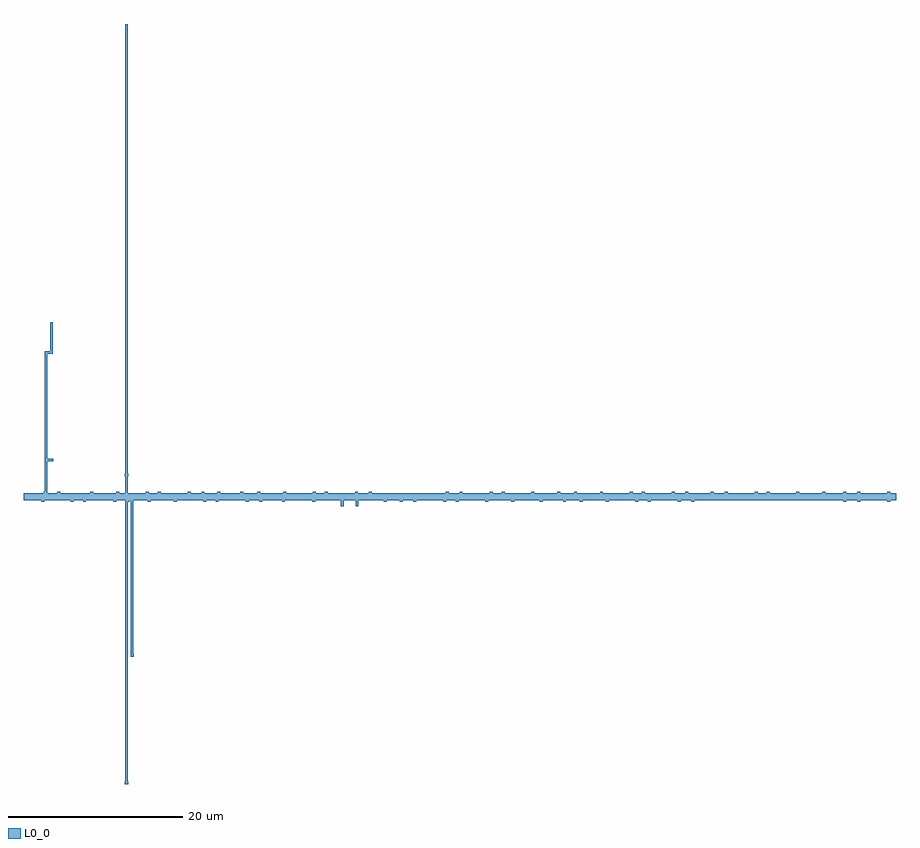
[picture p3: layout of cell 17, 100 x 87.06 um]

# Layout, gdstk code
import gdstk
lib = gdstk.Library(unit=1e-6, precision=1e-09)
def P(c, l, *ps):  # polygons
    for p in ps: c.add(gdstk.Polygon(p, *l))
L0_0 = (0, 0)

c_17 = lib.new_cell('17')
P(c_17, L0_0, [(925.98,946.24),(926.76,946.24),(926.76,946.415),(927.1,946.415),(927.1,946.24),(929.74,946.24),(929.74,946.415),(930.08,946.415),(930.08,946.24),(933.135,946.24),(933.135,946.415),(933.475,946.415),(933.475,946.24),(934.535,946.24),(934.535,946.415),(934.875,946.415),(934.875,946.24),(937.975,946.24),(937.975,946.415),(938.315,946.415),(938.315,946.24),(939.53,946.24),(939.53,946.415),(939.87,946.415),(939.87,946.24),(941.16,946.24),(941.16,945.44),(925.98,945.44),(925.98,946.24)],
  [(1000,945.44),(999.265,945.44),(999.265,945.265),(998.925,945.265),(998.925,945.44),(995.825,945.44),(995.825,945.265),(995.485,945.265),(995.485,945.44),(994.27,945.44),(994.27,945.265),(993.93,945.265),(993.93,945.44),(992.64,945.44),(992.64,946.24),(1000,946.24),(1000,945.44)],
  [(900,946.24),(1000,946.24),(1000,945.44),(900,945.44),(900,946.24)],
  [(906.84,946.24),(906.84,945.44),(905.52,945.44),(905.52,946.24),(906.84,946.24)],
  [(947.1,945.44),(947.1,946.24),(948.39,946.24),(948.39,946.415),(948.73,946.415),(948.73,946.24),(949.945,946.24),(949.945,946.415),(950.285,946.415),(950.285,946.24),(953.385,946.24),(953.385,946.415),(953.725,946.415),(953.725,946.24),(954.785,946.24),(954.785,946.415),(955.125,946.415),(955.125,946.24),(958.18,946.24),(958.18,946.415),(958.52,946.415),(958.52,946.24),(961.16,946.24),(961.16,946.415),(961.5,946.415),(961.5,946.24),(962.28,946.24),(962.28,945.44),(947.1,945.44)],
  [(958.32,946.24),(958.98,946.24),(958.98,945.44),(958.32,945.44),(958.32,946.24)],
  [(900,946.24),(902.335,946.24),(902.335,946.415),(902.675,946.415),(902.675,946.24),(903.89,946.24),(903.89,946.415),(904.23,946.415),(904.23,946.24),(905.52,946.24),(905.52,945.44),(900,945.44),(900,946.24)],
  [(946.44,946.24),(946.44,945.44),(941.16,945.44),(941.16,946.24),(946.44,946.24)],
  [(1000,945.44),(992.64,945.44),(992.64,946.24),(993.93,946.24),(993.93,946.415),(994.27,946.415),(994.27,946.24),(995.485,946.24),(995.485,946.415),(995.825,946.415),(995.825,946.24),(998.925,946.24),(998.925,946.415),(999.265,946.415),(999.265,946.24),(1000,946.24),(1000,945.44)],
  [(941.82,945.44),(941.62,945.44),(941.62,945.265),(941.28,945.265),(941.28,945.44),(938.37,945.44),(938.37,944.76),(938.03,944.76),(938.03,945.44),(936.68,945.44),(936.68,944.76),(936.34,944.76),(936.34,945.44),(933.43,945.44),(933.43,945.265),(933.09,945.265),(933.09,945.44),(929.95,945.44),(929.95,945.265),(929.61,945.265),(929.61,945.44),(928.62,945.44),(928.62,946.24),(941.82,946.24),(941.82,945.44)],
  [(957,945.44),(956.22,945.44),(956.22,945.265),(955.88,945.265),(955.88,945.44),(953.24,945.44),(953.24,945.265),(952.9,945.265),(952.9,945.44),(949.845,945.44),(949.845,945.265),(949.505,945.265),(949.505,945.44),(948.445,945.44),(948.445,945.265),(948.105,945.265),(948.105,945.44),(945.005,945.44),(945.005,945.265),(944.665,945.265),(944.665,945.44),(943.45,945.44),(943.45,945.265),(943.11,945.265),(943.11,945.44),(941.82,945.44),(941.82,946.24),(957,946.24),(957,945.44)],
  [(991.32,946.24),(992.64,946.24),(992.64,945.44),(991.32,945.44),(991.32,946.24)],
  [(978.12,946.24),(978.12,945.44),(976.83,945.44),(976.83,945.265),(976.49,945.265),(976.49,945.44),(975.275,945.44),(975.275,945.265),(974.935,945.265),(974.935,945.44),(971.835,945.44),(971.835,945.265),(971.495,945.265),(971.495,945.44),(970.435,945.44),(970.435,945.265),(970.095,945.265),(970.095,945.44),(967.04,945.44),(967.04,945.265),(966.7,945.265),(966.7,945.44),(964.06,945.44),(964.06,945.265),(963.72,945.265),(963.72,945.44),(962.94,945.44),(962.94,946.24),(978.12,946.24)],
  [(957,946.24),(958.32,946.24),(958.32,945.44),(957,945.44),(957,946.24)],
  [(900,946.24),(913.44,946.24),(913.44,945.44),(912.15,945.44),(912.15,945.265),(911.81,945.265),(911.81,945.44),(910.595,945.44),(910.595,945.265),(910.255,945.265),(910.255,945.44),(907.155,945.44),(907.155,945.265),(906.815,945.265),(906.815,945.44),(905.755,945.44),(905.755,945.265),(905.415,945.265),(905.415,945.44),(902.36,945.44),(902.36,945.265),(902.02,945.265),(902.02,945.44),(900,945.44),(900,946.24)],
  [(977.46,945.44),(977.46,946.24),(978.75,946.24),(978.75,946.415),(979.09,946.415),(979.09,946.24),(980.305,946.24),(980.305,946.415),(980.645,946.415),(980.645,946.24),(983.745,946.24),(983.745,946.415),(984.085,946.415),(984.085,946.24),(985.145,946.24),(985.145,946.415),(985.485,946.415),(985.485,946.24),(988.54,946.24),(988.54,946.415),(988.88,946.415),(988.88,946.24),(991.52,946.24),(991.52,946.415),(991.86,946.415),(991.86,946.24),(992.64,946.24),(992.64,945.44),(977.46,945.44)],
  [(962.28,946.24),(963.06,946.24),(963.06,946.415),(963.4,946.415),(963.4,946.24),(966.04,946.24),(966.04,946.415),(966.38,946.415),(966.38,946.24),(969.435,946.24),(969.435,946.415),(969.775,946.415),(969.775,946.24),(970.835,946.24),(970.835,946.415),(971.175,946.415),(971.175,946.24),(974.275,946.24),(974.275,946.415),(974.615,946.415),(974.615,946.24),(975.83,946.24),(975.83,946.415),(976.17,946.415),(976.17,946.24),(977.46,946.24),(977.46,945.44),(962.28,945.44),(962.28,946.24)],
  [(962.94,946.24),(962.94,945.44),(962.14,945.44),(962.14,945.265),(961.8,945.265),(961.8,945.44),(959.5,945.44),(959.5,945.265),(959.16,945.265),(959.16,945.44),(958.98,945.44),(958.98,946.24),(962.94,946.24)],
  [(928.62,946.24),(928.62,945.44),(927.33,945.44),(927.33,945.265),(926.99,945.265),(926.99,945.44),(925.775,945.44),(925.775,945.265),(925.435,945.265),(925.435,945.44),(922.335,945.44),(922.335,945.265),(921.995,945.265),(921.995,945.44),(920.935,945.44),(920.935,945.265),(920.595,945.265),(920.595,945.44),(917.54,945.44),(917.54,945.265),(917.2,945.265),(917.2,945.44),(914.56,945.44),(914.56,945.265),(914.22,945.265),(914.22,945.44),(913.44,945.44),(913.44,946.24),(928.62,946.24)],
  [(978.12,946.24),(988.68,946.24),(988.68,945.44),(978.12,945.44),(978.12,946.24)],
  [(988.68,946.24),(991.32,946.24),(991.32,945.44),(988.68,945.44),(988.68,946.24)],
  [(922.02,946.24),(922.2,946.24),(922.2,946.415),(922.54,946.415),(922.54,946.24),(924.84,946.24),(924.84,946.415),(925.18,946.415),(925.18,946.24),(925.98,946.24),(925.98,945.44),(922.02,945.44),(922.02,946.24)],
  [(906.84,946.24),(907.62,946.24),(907.62,946.415),(907.96,946.415),(907.96,946.24),(910.6,946.24),(910.6,946.415),(910.94,946.415),(910.94,946.24),(913.995,946.24),(913.995,946.415),(914.335,946.415),(914.335,946.24),(915.395,946.24),(915.395,946.415),(915.735,946.415),(915.735,946.24),(918.835,946.24),(918.835,946.415),(919.175,946.415),(919.175,946.24),(920.39,946.24),(920.39,946.415),(920.73,946.415),(920.73,946.24),(922.02,946.24),(922.02,945.44),(906.84,945.44),(906.84,946.24)],
  [(947.1,946.24),(947.1,945.44),(946.44,945.44),(946.44,946.24),(947.1,946.24)],
  [(900,946.24),(902.335,946.24),(902.335,946.415),(902.675,946.415),(902.675,946.24),(903.89,946.24),(903.89,946.415),(904.23,946.415),(904.23,946.24),(905.52,946.24),(905.52,945.44),(900,945.44),(900,946.24)],
  [(946.44,946.24),(946.44,945.44),(941.16,945.44),(941.16,946.24),(946.44,946.24)],
  [(925.98,946.24),(926.76,946.24),(926.76,946.415),(927.1,946.415),(927.1,946.24),(929.74,946.24),(929.74,946.415),(930.08,946.415),(930.08,946.24),(933.135,946.24),(933.135,946.415),(933.475,946.415),(933.475,946.24),(934.535,946.24),(934.535,946.415),(934.875,946.415),(934.875,946.24),(937.975,946.24),(937.975,946.415),(938.315,946.415),(938.315,946.24),(939.53,946.24),(939.53,946.415),(939.87,946.415),(939.87,946.24),(941.16,946.24),(941.16,945.44),(925.98,945.44),(925.98,946.24)],
  [(922.02,946.24),(922.2,946.24),(922.2,946.415),(922.54,946.415),(922.54,946.24),(924.84,946.24),(924.84,946.415),(925.18,946.415),(925.18,946.24),(925.98,946.24),(925.98,945.44),(922.02,945.44),(922.02,946.24)],
  [(928.62,946.24),(928.62,945.44),(927.33,945.44),(927.33,945.265),(926.99,945.265),(926.99,945.44),(925.775,945.44),(925.775,945.265),(925.435,945.265),(925.435,945.44),(922.335,945.44),(922.335,945.265),(921.995,945.265),(921.995,945.44),(920.935,945.44),(920.935,945.265),(920.595,945.265),(920.595,945.44),(917.54,945.44),(917.54,945.265),(917.2,945.265),(917.2,945.44),(914.56,945.44),(914.56,945.265),(914.22,945.265),(914.22,945.44),(913.44,945.44),(913.44,946.24),(928.62,946.24)],
  [(906.84,946.24),(906.84,945.44),(905.52,945.44),(905.52,946.24),(906.84,946.24)],
  [(941.82,945.44),(941.62,945.44),(941.62,945.265),(941.28,945.265),(941.28,945.44),(938.37,945.44),(938.37,944.76),(938.03,944.76),(938.03,945.44),(936.68,945.44),(936.68,944.76),(936.34,944.76),(936.34,945.44),(933.43,945.44),(933.43,945.265),(933.09,945.265),(933.09,945.44),(929.95,945.44),(929.95,945.265),(929.61,945.265),(929.61,945.44),(928.62,945.44),(928.62,946.24),(941.82,946.24),(941.82,945.44)],
  [(957,945.44),(956.22,945.44),(956.22,945.265),(955.88,945.265),(955.88,945.44),(953.24,945.44),(953.24,945.265),(952.9,945.265),(952.9,945.44),(949.845,945.44),(949.845,945.265),(949.505,945.265),(949.505,945.44),(948.445,945.44),(948.445,945.265),(948.105,945.265),(948.105,945.44),(945.005,945.44),(945.005,945.265),(944.665,945.265),(944.665,945.44),(943.45,945.44),(943.45,945.265),(943.11,945.265),(943.11,945.44),(941.82,945.44),(941.82,946.24),(957,946.24),(957,945.44)],
  [(906.84,946.24),(907.62,946.24),(907.62,946.415),(907.96,946.415),(907.96,946.24),(910.6,946.24),(910.6,946.415),(910.94,946.415),(910.94,946.24),(913.995,946.24),(913.995,946.415),(914.335,946.415),(914.335,946.24),(915.395,946.24),(915.395,946.415),(915.735,946.415),(915.735,946.24),(918.835,946.24),(918.835,946.415),(919.175,946.415),(919.175,946.24),(920.39,946.24),(920.39,946.415),(920.73,946.415),(920.73,946.24),(922.02,946.24),(922.02,945.44),(906.84,945.44),(906.84,946.24)],
  [(900,946.24),(913.44,946.24),(913.44,945.44),(912.15,945.44),(912.15,945.265),(911.81,945.265),(911.81,945.44),(910.595,945.44),(910.595,945.265),(910.255,945.265),(910.255,945.44),(907.155,945.44),(907.155,945.265),(906.815,945.265),(906.815,945.44),(905.755,945.44),(905.755,945.265),(905.415,945.265),(905.415,945.44),(902.36,945.44),(902.36,945.265),(902.02,945.265),(902.02,945.44),(900,945.44),(900,946.24)],
  [(962.28,946.24),(963.06,946.24),(963.06,946.415),(963.4,946.415),(963.4,946.24),(966.04,946.24),(966.04,946.415),(966.38,946.415),(966.38,946.24),(969.435,946.24),(969.435,946.415),(969.775,946.415),(969.775,946.24),(970.835,946.24),(970.835,946.415),(971.175,946.415),(971.175,946.24),(974.275,946.24),(974.275,946.415),(974.615,946.415),(974.615,946.24),(975.83,946.24),(975.83,946.415),(976.17,946.415),(976.17,946.24),(977.46,946.24),(977.46,945.44),(962.28,945.44),(962.28,946.24)],
  [(946.44,946.24),(946.44,945.44),(941.16,945.44),(941.16,946.24),(946.44,946.24)],
  [(925.98,946.24),(926.76,946.24),(926.76,946.415),(927.1,946.415),(927.1,946.24),(929.74,946.24),(929.74,946.415),(930.08,946.415),(930.08,946.24),(933.135,946.24),(933.135,946.415),(933.475,946.415),(933.475,946.24),(934.535,946.24),(934.535,946.415),(934.875,946.415),(934.875,946.24),(937.975,946.24),(937.975,946.415),(938.315,946.415),(938.315,946.24),(939.53,946.24),(939.53,946.415),(939.87,946.415),(939.87,946.24),(941.16,946.24),(941.16,945.44),(925.98,945.44),(925.98,946.24)],
  [(958.32,946.24),(958.98,946.24),(958.98,945.44),(958.32,945.44),(958.32,946.24)],
  [(900,946.24),(913.44,946.24),(913.44,945.44),(912.15,945.44),(912.15,945.265),(911.81,945.265),(911.81,945.44),(910.595,945.44),(910.595,945.265),(910.255,945.265),(910.255,945.44),(907.155,945.44),(907.155,945.265),(906.815,945.265),(906.815,945.44),(905.755,945.44),(905.755,945.265),(905.415,945.265),(905.415,945.44),(902.36,945.44),(902.36,945.265),(902.02,945.265),(902.02,945.44),(900,945.44),(900,946.24)],
  [(928.62,946.24),(928.62,945.44),(927.33,945.44),(927.33,945.265),(926.99,945.265),(926.99,945.44),(925.775,945.44),(925.775,945.265),(925.435,945.265),(925.435,945.44),(922.335,945.44),(922.335,945.265),(921.995,945.265),(921.995,945.44),(920.935,945.44),(920.935,945.265),(920.595,945.265),(920.595,945.44),(917.54,945.44),(917.54,945.265),(917.2,945.265),(917.2,945.44),(914.56,945.44),(914.56,945.265),(914.22,945.265),(914.22,945.44),(913.44,945.44),(913.44,946.24),(928.62,946.24)],
  [(941.82,945.44),(941.62,945.44),(941.62,945.265),(941.28,945.265),(941.28,945.44),(938.37,945.44),(938.37,944.76),(938.03,944.76),(938.03,945.44),(936.68,945.44),(936.68,944.76),(936.34,944.76),(936.34,945.44),(933.43,945.44),(933.43,945.265),(933.09,945.265),(933.09,945.44),(929.95,945.44),(929.95,945.265),(929.61,945.265),(929.61,945.44),(928.62,945.44),(928.62,946.24),(941.82,946.24),(941.82,945.44)],
  [(906.84,946.24),(906.84,945.44),(905.52,945.44),(905.52,946.24),(906.84,946.24)],
  [(957,945.44),(956.22,945.44),(956.22,945.265),(955.88,945.265),(955.88,945.44),(953.24,945.44),(953.24,945.265),(952.9,945.265),(952.9,945.44),(949.845,945.44),(949.845,945.265),(949.505,945.265),(949.505,945.44),(948.445,945.44),(948.445,945.265),(948.105,945.265),(948.105,945.44),(945.005,945.44),(945.005,945.265),(944.665,945.265),(944.665,945.44),(943.45,945.44),(943.45,945.265),(943.11,945.265),(943.11,945.44),(941.82,945.44),(941.82,946.24),(957,946.24),(957,945.44)],
  [(906.84,946.24),(907.62,946.24),(907.62,946.415),(907.96,946.415),(907.96,946.24),(910.6,946.24),(910.6,946.415),(910.94,946.415),(910.94,946.24),(913.995,946.24),(913.995,946.415),(914.335,946.415),(914.335,946.24),(915.395,946.24),(915.395,946.415),(915.735,946.415),(915.735,946.24),(918.835,946.24),(918.835,946.415),(919.175,946.415),(919.175,946.24),(920.39,946.24),(920.39,946.415),(920.73,946.415),(920.73,946.24),(922.02,946.24),(922.02,945.44),(906.84,945.44),(906.84,946.24)],
  [(947.1,946.24),(947.1,945.44),(946.44,945.44),(946.44,946.24),(947.1,946.24)],
  [(947.1,945.44),(947.1,946.24),(948.39,946.24),(948.39,946.415),(948.73,946.415),(948.73,946.24),(949.945,946.24),(949.945,946.415),(950.285,946.415),(950.285,946.24),(953.385,946.24),(953.385,946.415),(953.725,946.415),(953.725,946.24),(954.785,946.24),(954.785,946.415),(955.125,946.415),(955.125,946.24),(958.18,946.24),(958.18,946.415),(958.52,946.415),(958.52,946.24),(961.16,946.24),(961.16,946.415),(961.5,946.415),(961.5,946.24),(962.28,946.24),(962.28,945.44),(947.1,945.44)],
  [(957,946.24),(958.32,946.24),(958.32,945.44),(957,945.44),(957,946.24)],
  [(962.28,946.24),(963.06,946.24),(963.06,946.415),(963.4,946.415),(963.4,946.24),(966.04,946.24),(966.04,946.415),(966.38,946.415),(966.38,946.24),(969.435,946.24),(969.435,946.415),(969.775,946.415),(969.775,946.24),(970.835,946.24),(970.835,946.415),(971.175,946.415),(971.175,946.24),(974.275,946.24),(974.275,946.415),(974.615,946.415),(974.615,946.24),(975.83,946.24),(975.83,946.415),(976.17,946.415),(976.17,946.24),(977.46,946.24),(977.46,945.44),(962.28,945.44),(962.28,946.24)],
  [(946.44,946.24),(946.44,945.44),(941.16,945.44),(941.16,946.24),(946.44,946.24)],
  [(925.98,946.24),(926.76,946.24),(926.76,946.415),(927.1,946.415),(927.1,946.24),(929.74,946.24),(929.74,946.415),(930.08,946.415),(930.08,946.24),(933.135,946.24),(933.135,946.415),(933.475,946.415),(933.475,946.24),(934.535,946.24),(934.535,946.415),(934.875,946.415),(934.875,946.24),(937.975,946.24),(937.975,946.415),(938.315,946.415),(938.315,946.24),(939.53,946.24),(939.53,946.415),(939.87,946.415),(939.87,946.24),(941.16,946.24),(941.16,945.44),(925.98,945.44),(925.98,946.24)],
  [(958.32,946.24),(958.98,946.24),(958.98,945.44),(958.32,945.44),(958.32,946.24)],
  [(957,945.44),(956.22,945.44),(956.22,945.265),(955.88,945.265),(955.88,945.44),(953.24,945.44),(953.24,945.265),(952.9,945.265),(952.9,945.44),(949.845,945.44),(949.845,945.265),(949.505,945.265),(949.505,945.44),(948.445,945.44),(948.445,945.265),(948.105,945.265),(948.105,945.44),(945.005,945.44),(945.005,945.265),(944.665,945.265),(944.665,945.44),(943.45,945.44),(943.45,945.265),(943.11,945.265),(943.11,945.44),(941.82,945.44),(941.82,946.24),(957,946.24),(957,945.44)],
  [(906.84,946.24),(907.62,946.24),(907.62,946.415),(907.96,946.415),(907.96,946.24),(910.6,946.24),(910.6,946.415),(910.94,946.415),(910.94,946.24),(913.995,946.24),(913.995,946.415),(914.335,946.415),(914.335,946.24),(915.395,946.24),(915.395,946.415),(915.735,946.415),(915.735,946.24),(918.835,946.24),(918.835,946.415),(919.175,946.415),(919.175,946.24),(920.39,946.24),(920.39,946.415),(920.73,946.415),(920.73,946.24),(922.02,946.24),(922.02,945.44),(906.84,945.44),(906.84,946.24)],
  [(947.1,946.24),(947.1,945.44),(946.44,945.44),(946.44,946.24),(947.1,946.24)],
  [(947.1,945.44),(947.1,946.24),(948.39,946.24),(948.39,946.415),(948.73,946.415),(948.73,946.24),(949.945,946.24),(949.945,946.415),(950.285,946.415),(950.285,946.24),(953.385,946.24),(953.385,946.415),(953.725,946.415),(953.725,946.24),(954.785,946.24),(954.785,946.415),(955.125,946.415),(955.125,946.24),(958.18,946.24),(958.18,946.415),(958.52,946.415),(958.52,946.24),(961.16,946.24),(961.16,946.415),(961.5,946.415),(961.5,946.24),(962.28,946.24),(962.28,945.44),(947.1,945.44)],
  [(957,946.24),(958.32,946.24),(958.32,945.44),(957,945.44),(957,946.24)],
  [(900,946.24),(902.335,946.24),(902.335,946.415),(902.675,946.415),(902.675,946.24),(903.89,946.24),(903.89,946.415),(904.23,946.415),(904.23,946.24),(905.52,946.24),(905.52,945.44),(900,945.44),(900,946.24)],
  [(925.98,946.24),(926.76,946.24),(926.76,946.415),(927.1,946.415),(927.1,946.24),(929.74,946.24),(929.74,946.415),(930.08,946.415),(930.08,946.24),(933.135,946.24),(933.135,946.415),(933.475,946.415),(933.475,946.24),(934.535,946.24),(934.535,946.415),(934.875,946.415),(934.875,946.24),(937.975,946.24),(937.975,946.415),(938.315,946.415),(938.315,946.24),(939.53,946.24),(939.53,946.415),(939.87,946.415),(939.87,946.24),(941.16,946.24),(941.16,945.44),(925.98,945.44),(925.98,946.24)],
  [(928.62,946.24),(928.62,945.44),(927.33,945.44),(927.33,945.265),(926.99,945.265),(926.99,945.44),(925.775,945.44),(925.775,945.265),(925.435,945.265),(925.435,945.44),(922.335,945.44),(922.335,945.265),(921.995,945.265),(921.995,945.44),(920.935,945.44),(920.935,945.265),(920.595,945.265),(920.595,945.44),(917.54,945.44),(917.54,945.265),(917.2,945.265),(917.2,945.44),(914.56,945.44),(914.56,945.265),(914.22,945.265),(914.22,945.44),(913.44,945.44),(913.44,946.24),(928.62,946.24)],
  [(906.84,946.24),(906.84,945.44),(905.52,945.44),(905.52,946.24),(906.84,946.24)],
  [(906.84,946.24),(907.62,946.24),(907.62,946.415),(907.96,946.415),(907.96,946.24),(910.6,946.24),(910.6,946.415),(910.94,946.415),(910.94,946.24),(913.995,946.24),(913.995,946.415),(914.335,946.415),(914.335,946.24),(915.395,946.24),(915.395,946.415),(915.735,946.415),(915.735,946.24),(918.835,946.24),(918.835,946.415),(919.175,946.415),(919.175,946.24),(920.39,946.24),(920.39,946.415),(920.73,946.415),(920.73,946.24),(922.02,946.24),(922.02,945.44),(906.84,945.44),(906.84,946.24)],
  [(900,946.24),(913.44,946.24),(913.44,945.44),(912.15,945.44),(912.15,945.265),(911.81,945.265),(911.81,945.44),(910.595,945.44),(910.595,945.265),(910.255,945.265),(910.255,945.44),(907.155,945.44),(907.155,945.265),(906.815,945.265),(906.815,945.44),(905.755,945.44),(905.755,945.265),(905.415,945.265),(905.415,945.44),(902.36,945.44),(902.36,945.265),(902.02,945.265),(902.02,945.44),(900,945.44),(900,946.24)],
  [(900,946.24),(902.335,946.24),(902.335,946.415),(902.675,946.415),(902.675,946.24),(903.89,946.24),(903.89,946.415),(904.23,946.415),(904.23,946.24),(905.52,946.24),(905.52,945.44),(900,945.44),(900,946.24)],
  [(900,946.24),(913.44,946.24),(913.44,945.44),(912.15,945.44),(912.15,945.265),(911.81,945.265),(911.81,945.44),(910.595,945.44),(910.595,945.265),(910.255,945.265),(910.255,945.44),(907.155,945.44),(907.155,945.265),(906.815,945.265),(906.815,945.44),(905.755,945.44),(905.755,945.265),(905.415,945.265),(905.415,945.44),(902.36,945.44),(902.36,945.265),(902.02,945.265),(902.02,945.44),(900,945.44),(900,946.24)],
  [(928.62,946.24),(928.62,945.44),(927.33,945.44),(927.33,945.265),(926.99,945.265),(926.99,945.44),(925.775,945.44),(925.775,945.265),(925.435,945.265),(925.435,945.44),(922.335,945.44),(922.335,945.265),(921.995,945.265),(921.995,945.44),(920.935,945.44),(920.935,945.265),(920.595,945.265),(920.595,945.44),(917.54,945.44),(917.54,945.265),(917.2,945.265),(917.2,945.44),(914.56,945.44),(914.56,945.265),(914.22,945.265),(914.22,945.44),(913.44,945.44),(913.44,946.24),(928.62,946.24)],
  [(906.84,946.24),(907.62,946.24),(907.62,946.415),(907.96,946.415),(907.96,946.24),(910.6,946.24),(910.6,946.415),(910.94,946.415),(910.94,946.24),(913.995,946.24),(913.995,946.415),(914.335,946.415),(914.335,946.24),(915.395,946.24),(915.395,946.415),(915.735,946.415),(915.735,946.24),(918.835,946.24),(918.835,946.415),(919.175,946.415),(919.175,946.24),(920.39,946.24),(920.39,946.415),(920.73,946.415),(920.73,946.24),(922.02,946.24),(922.02,945.44),(906.84,945.44),(906.84,946.24)],
  [(900,946.24),(913.44,946.24),(913.44,945.44),(912.15,945.44),(912.15,945.265),(911.81,945.265),(911.81,945.44),(910.595,945.44),(910.595,945.265),(910.255,945.265),(910.255,945.44),(907.155,945.44),(907.155,945.265),(906.815,945.265),(906.815,945.44),(905.755,945.44),(905.755,945.265),(905.415,945.265),(905.415,945.44),(902.36,945.44),(902.36,945.265),(902.02,945.265),(902.02,945.44),(900,945.44),(900,946.24)],
  [(928.62,946.24),(928.62,945.44),(927.33,945.44),(927.33,945.265),(926.99,945.265),(926.99,945.44),(925.775,945.44),(925.775,945.265),(925.435,945.265),(925.435,945.44),(922.335,945.44),(922.335,945.265),(921.995,945.265),(921.995,945.44),(920.935,945.44),(920.935,945.265),(920.595,945.265),(920.595,945.44),(917.54,945.44),(917.54,945.265),(917.2,945.265),(917.2,945.44),(914.56,945.44),(914.56,945.265),(914.22,945.265),(914.22,945.44),(913.44,945.44),(913.44,946.24),(928.62,946.24)],
  [(911.6,948.5),(911.98,948.5),(911.98,948.22),(911.6,948.22),(911.6,948.5)],
  [(911.65,945.98),(911.65,948.5),(911.93,948.5),(911.93,945.98),(911.65,945.98)],
  [(911.6,946.26),(911.98,946.26),(911.98,945.98),(911.6,945.98),(911.6,946.26)],
  [(911.6,946.26),(911.98,946.26),(911.98,945.98),(911.6,945.98),(911.6,946.26)],
  [(912.26,946.26),(912.64,946.26),(912.64,945.98),(912.26,945.98),(912.26,946.26)],
  [(900,946.26),(911.93,946.26),(911.93,945.98),(900,945.98),(900,946.26)],
  [(911.65,946.26),(912.59,946.26),(912.59,945.98),(911.65,945.98),(911.65,946.26)],
  [(911.6,946.26),(911.98,946.26),(911.98,945.98),(911.6,945.98),(911.6,946.26)],
  [(912.26,946.26),(912.64,946.26),(912.64,945.98),(912.26,945.98),(912.26,946.26)],
  [(911.65,946.26),(912.59,946.26),(912.59,945.98),(911.65,945.98),(911.65,946.26)],
  [(902.36,945.7),(902.74,945.7),(902.74,945.42),(902.36,945.42),(902.36,945.7)],
  [(900,945.7),(902.69,945.7),(902.69,945.42),(900,945.42),(900,945.7)],
  [(902.41,950.18),(903.35,950.18),(903.35,949.9),(902.41,949.9),(902.41,950.18)],
  [(903.07,962.22),(903.07,965.86),(903.35,965.86),(903.35,962.22),(903.07,962.22)],
  [(902.41,962.5),(903.35,962.5),(903.35,962.22),(902.41,962.22),(902.41,962.5)],
  [(902.41,949.9),(902.41,962.5),(902.69,962.5),(902.69,949.9),(902.41,949.9)],
  [(902.41,945.42),(902.41,950.18),(902.69,950.18),(902.69,945.42),(902.41,945.42)],
  [(903.02,950.18),(903.4,950.18),(903.4,949.9),(903.02,949.9),(903.02,950.18)],
  [(902.36,945.7),(902.74,945.7),(902.74,945.42),(902.36,945.42),(902.36,945.7)],
  [(902.41,962.5),(903.35,962.5),(903.35,962.22),(902.41,962.22),(902.41,962.5)],
  [(902.41,945.42),(902.41,950.18),(902.69,950.18),(902.69,945.42),(902.41,945.42)],
  [(903.07,962.22),(903.07,965.86),(903.35,965.86),(903.35,962.22),(903.07,962.22)],
  [(902.41,962.5),(903.35,962.5),(903.35,962.22),(902.41,962.22),(902.41,962.5)],
  [(902.41,949.9),(902.41,962.5),(902.69,962.5),(902.69,949.9),(902.41,949.9)],
  [(902.36,945.7),(902.74,945.7),(902.74,945.42),(902.36,945.42),(902.36,945.7)],
  [(902.41,949.9),(902.41,962.5),(902.69,962.5),(902.69,949.9),(902.41,949.9)],
  [(902.41,945.42),(902.41,950.18),(902.69,950.18),(902.69,945.42),(902.41,945.42)],
  [(902.41,945.42),(902.41,950.18),(902.69,950.18),(902.69,945.42),(902.41,945.42)],
  [(902.36,945.7),(902.74,945.7),(902.74,945.42),(902.36,945.42),(902.36,945.7)],
  [(912.26,946.26),(912.64,946.26),(912.64,945.98),(912.26,945.98),(912.26,946.26)],
  [(912.26,927.78),(912.64,927.78),(912.64,927.5),(912.26,927.5),(912.26,927.78)],
  [(912.31,927.5),(912.31,946.26),(912.59,946.26),(912.59,927.5),(912.31,927.5)],
  [(911.6,913.22),(911.98,913.22),(911.98,912.94),(911.6,912.94),(911.6,913.22)],
  [(911.93,1000),(911.93,912.94),(911.65,912.94),(911.65,1000),(911.93,1000)])

lib.write_gds('17.gds')
